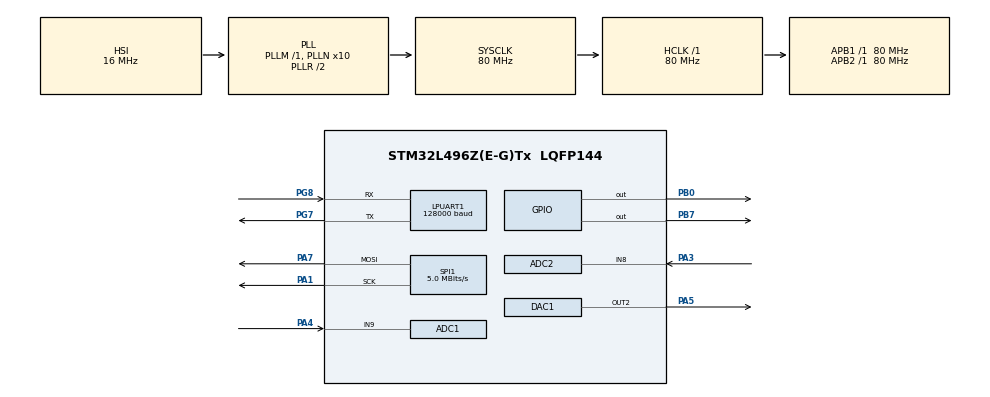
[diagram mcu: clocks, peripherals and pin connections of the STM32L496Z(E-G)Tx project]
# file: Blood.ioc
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Mcu.Family=STM32L4
PG8.Mode=Asynchronous
ADC2.ExternalTrigConv=ADC_EXTERNALTRIG_T2_TRGO
RCC.CortexFreq_Value=80000000
SPI1.VirtualType=VM_MASTER
ADC2.SamplingTime-1\#ChannelRegularConversion=ADC_SAMPLETIME_2CYCLES_5
PH0-OSC_IN\ (PH0).Signal=RCC_OSC_IN
SH.COMP_DAC12_group.0=DAC1_OUT2,DAC_OUT2
PG8.Signal=LPUART1_RX
LPUART1.WordLength=UART_WORDLENGTH_8B
RCC.SYSCLKSource=RCC_SYSCLKSOURCE_PLLCLK
ProjectManager.StackSize=0x400
NVIC.LPUART1_IRQn=true\:0\:0\:false\:false\:true\:true\:true
SPI1.Direction=SPI_DIRECTION_2LINES
RCC.HCLKFreq_Value=80000000
RCC.APB2TimFreq_Value=80000000
Dma.ADC1.0.Direction=DMA_PERIPH_TO_MEMORY
SPI1.CalculateBaudRate=5.0 MBits/s
Dma.ADC1.0.MemDataAlignment=DMA_MDATAALIGN_HALFWORD
RCC.AHBFreq_Value=80000000
PH1-OSC_OUT\ (PH1).Mode=HSE-External-Oscillator
RCC.HSE_VALUE=8000000
Dma.ADC2.1.Instance=DMA1_Channel2
Dma.ADC1.0.PeriphInc=DMA_PINC_DISABLE
NVIC.TIM2_IRQn=true\:0\:0\:false\:false\:true\:true\:true
SPI1.DataSize=SPI_DATASIZE_8BIT
SH.ADCx_IN8.0=ADC2_IN8,IN8-Single-Ended
PB7.Signal=GPIO_Output
Dma.ADC2.1.PeriphInc=DMA_PINC_DISABLE
Mcu.Package=LQFP144
TIM2.Prescaler=8000-1
ADC2.Channel-1\#ChannelRegularConversion=ADC_CHANNEL_8
ADC1.OffsetNumber-1\#ChannelRegularConversion=ADC_OFFSET_NONE
SH.ADCx_IN9.0=ADC1_IN9,IN9-Single-Ended
TIM2.TIM_MasterOutputTrigger=TIM_TRGO_UPDATE
Dma.Request1=ADC2
RCC.APB1TimFreq_Value=80000000
Dma.Request0=ADC1
SPI1.BaudRatePrescaler=SPI_BAUDRATEPRESCALER_16
PH0-OSC_IN\ (PH0).Mode=HSE-External-Oscillator
Dma.ADC2.1.PeriphDataAlignment=DMA_PDATAALIGN_HALFWORD
RCC.HSI48_VALUE=48000000
RCC.PLLSAI1N=10
PA3.Signal=ADCx_IN8
RCC.MSI_VALUE=4000000
RCC.PLLSourceVirtual=RCC_PLLSOURCE_HSI
Dma.ADC1.0.Instance=DMA1_Channel1
DAC1.DAC_Channel-DAC_OUT2=DAC_CHANNEL_2
PA7.Mode=TX_Only_Simplex_Unidirect_Master
PG7.Signal=LPUART1_TX
PH1-OSC_OUT\ (PH1).Signal=RCC_OSC_OUT
Dma.ADC1.0.PeriphDataAlignment=DMA_PDATAALIGN_HALFWORD
NVIC.DMA1_Channel2_IRQn=true\:0\:0\:false\:false\:true\:false\:true
ProjectManager.TargetToolchain=STM32CubeIDE
Dma.ADC1.0.Mode=DMA_NORMAL
Dma.ADC1.0.Priority=DMA_PRIORITY_LOW
ADC1.Channel-1\#ChannelRegularConversion=ADC_CHANNEL_9
RCC.USBFreq_Value=80000000
PG7.Mode=Asynchronous
Dma.ADC2.1.Mode=DMA_NORMAL
RCC.LSE_VALUE=32768
PA1.Signal=SPI1_SCK
ADC2.OffsetNumber-1\#ChannelRegularConversion=ADC_OFFSET_NONE
PA5.Signal=COMP_DAC12_group
board=custom
RCC.VCOOutputFreq_Value=160000000
RCC.APB2Freq_Value=80000000
PA1.Mode=TX_Only_Simplex_Unidirect_Master
VP_TIM2_VS_ClockSourceINT.Mode=Internal
SPI1.Mode=SPI_MODE_MASTER
RCC.ADCFreq_Value=80000000
Dma.ADC2.1.MemInc=DMA_MINC_ENABLE
TIM2.Period=100-1
Mcu.Name=STM32L496Z(E-G)Tx
LPUART1.BaudRate=128000
ADC1.ExternalTrigConv=ADC_EXTERNALTRIG_T2_TRGO
PA4.Signal=ADCx_IN9
ADC1.SamplingTime-1\#ChannelRegularConversion=ADC_SAMPLETIME_2CYCLES_5
RCC.SYSCLKFreq_VALUE=80000000
Dma.ADC2.1.Direction=DMA_PERIPH_TO_MEMORY
ADC1.master=1
ADC2.NbrOfConversionFlag=1
ADC1.Rank-1\#ChannelRegularConversion=1
Dma.ADC1.0.MemInc=DMA_MINC_ENABLE
ProjectManager.HeapSize=0x200
RCC.HSI_VALUE=16000000
NVIC.PriorityGroup=NVIC_PRIORITYGROUP_4
ADC1.NbrOfConversionFlag=1
Dma.ADC2.1.MemDataAlignment=DMA_MDATAALIGN_HALFWORD
RCC.PLLN=10
ADC2.Rank-1\#ChannelRegularConversion=1
Dma.ADC2.1.Priority=DMA_PRIORITY_LOW
NVIC.DMA1_Channel1_IRQn=true\:0\:0\:false\:false\:true\:false\:true
RCC.APB1Freq_Value=80000000
PB0.Signal=GPIO_Output
PA7.Signal=SPI1_MOSI

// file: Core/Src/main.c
/* USER CODE BEGIN Header */
/**
  ******************************************************************************
  * @file           : main.c
  * @brief          : Main program body
  ******************************************************************************
  * @attention
  *
  * <h2><center>&copy; Copyright (c) 2021 STMicroelectronics.
  * All rights reserved.</center></h2>
  *
  * This software component is licensed by ST under BSD 3-Clause license,
  * the "License"; You may not use this file except in compliance with the
  * License. You may obtain a copy of the License at:
  *                        opensource.org/licenses/BSD-3-Clause
  *
  ******************************************************************************
  */
/* USER CODE END Header */
#include "main.h"

/* USER CODE BEGIN Includes */
#include <stdio.h>
#include "max7219.h"
/* USER CODE END Includes */

ADC_HandleTypeDef hadc1;
ADC_HandleTypeDef hadc2;
DMA_HandleTypeDef hdma_adc1;
DMA_HandleTypeDef hdma_adc2;

DAC_HandleTypeDef hdac1;

UART_HandleTypeDef hlpuart1;

SPI_HandleTypeDef hspi1;

TIM_HandleTypeDef htim2;

/* USER CODE BEGIN PV */
__IO ITStatus UartReady = RESET;
__IO uint16_t adcValues[DMABUFFER];
__IO uint16_t staticAdcValues[DMABUFFER];
__IO uint16_t filterValues[DMABUFFER];
__IO uint16_t filterStaticValues[DMABUFFER];
__IO uint16_t maxValueTime = 0;
uint16_t aTxBuffer[1];
uint16_t B[3];
double A[3];
double Gain = 0.02;
double w_x[3];
double w_y[3];

__IO uint16_t maxValue = 0;
/* USER CODE END PV */

void SystemClock_Config(void);
static void MX_GPIO_Init(void);
static void MX_DMA_Init(void);
static void MX_LPUART1_UART_Init(void);
static void MX_ADC1_Init(void);
static void MX_TIM2_Init(void);
static void MX_DAC1_Init(void);
static void MX_SPI1_Init(void);
static void MX_ADC2_Init(void);
/* USER CODE BEGIN PFP */
static void FindMaxValue(void);
static void Max7219Show(uint16_t number, bool pos);
static void FilterAdcValues(void);
static void FilterStaticValues(void);
/* USER CODE END PFP */

/* USER CODE BEGIN 0 */
#ifdef __GNUC__
#define PUTCHAR_PROTOTYPE int __io_putchar(int ch)
#else
#define PUTCHAR_PROTOTYPE int fputc(int ch, FILE *f)
#endif

PUTCHAR_PROTOTYPE
{
  //具体哪个串口可以更改huart1为其它串�????????????????????
  HAL_UART_Transmit(&hlpuart1, (uint8_t *)&ch, 1, 0xffff);
  return ch;
}
/* USER CODE END 0 */

int main(void)
{
  /* USER CODE BEGIN 1 */
  // uint8_t aTxBuffer[] = "test\n";
  aTxBuffer[0] = 0x0100;
  /* USER CODE END 1 */

  /* MCU Configuration--------------------------------------------------------*/

  /* Reset of all peripherals, Initializes the Flash interface and the Systick. */
  HAL_Init();

  /* Configure the system clock */
  SystemClock_Config();

  /* USER CODE BEGIN SysInit */
  B[0] = 1;
  B[1] = 2;
  B[2] = 1;
  A[0] = 1;
  A[1] = -1.561;
  A[2] = 0.641;
  w_x[0] = w_x[1] = w_x[2] = 0;
  w_y[0] = w_y[1] = w_y[2] = 1;
  /* USER CODE END SysInit */

  /* Initialize all configured peripherals */
  MX_GPIO_Init();
  MX_DMA_Init();
  MX_LPUART1_UART_Init();
  MX_ADC1_Init();
  MX_TIM2_Init();
  MX_DAC1_Init();
  MX_SPI1_Init();
  MX_ADC2_Init();
  /* USER CODE BEGIN 2 */
  if (HAL_TIM_Base_Start_IT(&htim2) != HAL_OK)
  {
    Error_Handler();
  };
  if (HAL_ADCEx_Calibration_Start(&hadc1, ADC_SINGLE_ENDED) != HAL_OK)
  {
    Error_Handler();
  }
  if (HAL_ADCEx_Calibration_Start(&hadc2, ADC_SINGLE_ENDED) != HAL_OK)
  {
    Error_Handler();
  }
  // printf("%s\n", "ADC calibration complete.");
  if (HAL_ADC_Start_DMA(&hadc1, (uint32_t *)adcValues, DMABUFFER) != HAL_OK)
  {
    Error_Handler();
  }
  if (HAL_ADC_Start_DMA(&hadc2, (uint32_t *)staticAdcValues, DMABUFFER) != HAL_OK)
  {
    Error_Handler();
  }
  max7219_Init(7);
  max7219_Decode_On();
  max7219_Clean();
  Max7219Show(1111, true);
  Max7219Show(2222, false);
  /* USER CODE END 2 */

  /* Infinite loop */
  /* USER CODE BEGIN WHILE */
  while (1)
  {
    // while (HAL_UART_Transmit_IT(&hlpuart1, (uint8_t *)aTxBuffer, sizeof(aTxBuffer) / sizeof(*(aTxBuffer)) - 1) != HAL_OK)
    // {
    //   /* code */
    // }
    // while (UartReady != SET)
    // {
    // }
    // UartReady = RESET;
    // HAL_Delay(100);
    /* USER CODE END WHILE */

  }
}

void SystemClock_Config(void)
{
  RCC_OscInitTypeDef RCC_OscInitStruct = {0};
  RCC_ClkInitTypeDef RCC_ClkInitStruct = {0};
  RCC_PeriphCLKInitTypeDef PeriphClkInit = {0};

  /** Initializes the RCC Oscillators according to the specified parameters
  * in the RCC_OscInitTypeDef structure.
  */
  RCC_OscInitStruct.OscillatorType = RCC_OSCILLATORTYPE_HSI;
  RCC_OscInitStruct.HSIState = RCC_HSI_ON;
  RCC_OscInitStruct.HSICalibrationValue = RCC_HSICALIBRATION_DEFAULT;
  RCC_OscInitStruct.PLL.PLLState = RCC_PLL_ON;
  RCC_OscInitStruct.PLL.PLLSource = RCC_PLLSOURCE_HSI;
  RCC_OscInitStruct.PLL.PLLM = 1;
  RCC_OscInitStruct.PLL.PLLN = 10;
  RCC_OscInitStruct.PLL.PLLP = RCC_PLLP_DIV2;
  RCC_OscInitStruct.PLL.PLLQ = RCC_PLLQ_DIV2;
  RCC_OscInitStruct.PLL.PLLR = RCC_PLLR_DIV2;
  if (HAL_RCC_OscConfig(&RCC_OscInitStruct) != HAL_OK)
  {
    Error_Handler();
  }
  /** Initializes the CPU, AHB and APB buses clocks
  */
  RCC_ClkInitStruct.ClockType = RCC_CLOCKTYPE_HCLK | RCC_CLOCKTYPE_SYSCLK | RCC_CLOCKTYPE_PCLK1 | RCC_CLOCKTYPE_PCLK2;
  RCC_ClkInitStruct.SYSCLKSource = RCC_SYSCLKSOURCE_PLLCLK;
  RCC_ClkInitStruct.AHBCLKDivider = RCC_SYSCLK_DIV1;
  RCC_ClkInitStruct.APB1CLKDivider = RCC_HCLK_DIV1;
  RCC_ClkInitStruct.APB2CLKDivider = RCC_HCLK_DIV1;

  if (HAL_RCC_ClockConfig(&RCC_ClkInitStruct, FLASH_LATENCY_4) != HAL_OK)
  {
    Error_Handler();
  }
  PeriphClkInit.PeriphClockSelection = RCC_PERIPHCLK_LPUART1 | RCC_PERIPHCLK_ADC;
  PeriphClkInit.Lpuart1ClockSelection = RCC_LPUART1CLKSOURCE_PCLK1;
  PeriphClkInit.AdcClockSelection = RCC_ADCCLKSOURCE_PLLSAI1;
  PeriphClkInit.PLLSAI1.PLLSAI1Source = RCC_PLLSOURCE_HSI;
  PeriphClkInit.PLLSAI1.PLLSAI1M = 1;
  PeriphClkInit.PLLSAI1.PLLSAI1N = 10;
  PeriphClkInit.PLLSAI1.PLLSAI1P = RCC_PLLP_DIV2;
  PeriphClkInit.PLLSAI1.PLLSAI1Q = RCC_PLLQ_DIV2;
  PeriphClkInit.PLLSAI1.PLLSAI1R = RCC_PLLR_DIV2;
  PeriphClkInit.PLLSAI1.PLLSAI1ClockOut = RCC_PLLSAI1_ADC1CLK;
  if (HAL_RCCEx_PeriphCLKConfig(&PeriphClkInit) != HAL_OK)
  {
    Error_Handler();
  }
  /** Configure the main internal regulator output voltage
  */
  if (HAL_PWREx_ControlVoltageScaling(PWR_REGULATOR_VOLTAGE_SCALE1) != HAL_OK)
  {
    Error_Handler();
  }
}

static void MX_ADC1_Init(void)
{

  ADC_MultiModeTypeDef multimode = {0};
  ADC_ChannelConfTypeDef sConfig = {0};

  /** Common config
  */
  hadc1.Instance = ADC1;
  hadc1.Init.ClockPrescaler = ADC_CLOCK_ASYNC_DIV1;
  hadc1.Init.Resolution = ADC_RESOLUTION_12B;
  hadc1.Init.DataAlign = ADC_DATAALIGN_RIGHT;
  hadc1.Init.ScanConvMode = ADC_SCAN_DISABLE;
  hadc1.Init.EOCSelection = ADC_EOC_SINGLE_CONV;
  hadc1.Init.LowPowerAutoWait = DISABLE;
  hadc1.Init.ContinuousConvMode = DISABLE;
  hadc1.Init.NbrOfConversion = 1;
  hadc1.Init.DiscontinuousConvMode = DISABLE;
  hadc1.Init.ExternalTrigConv = ADC_EXTERNALTRIG_T2_TRGO;
  hadc1.Init.ExternalTrigConvEdge = ADC_EXTERNALTRIGCONVEDGE_RISING;
  hadc1.Init.DMAContinuousRequests = DISABLE;
  hadc1.Init.Overrun = ADC_OVR_DATA_PRESERVED;
  hadc1.Init.OversamplingMode = DISABLE;
  if (HAL_ADC_Init(&hadc1) != HAL_OK)
  {
    Error_Handler();
  }
  /** Configure the ADC multi-mode
  */
  multimode.Mode = ADC_MODE_INDEPENDENT;
  if (HAL_ADCEx_MultiModeConfigChannel(&hadc1, &multimode) != HAL_OK)
  {
    Error_Handler();
  }
  /** Configure Regular Channel
  */
  sConfig.Channel = ADC_CHANNEL_9;
  sConfig.Rank = ADC_REGULAR_RANK_1;
  sConfig.SamplingTime = ADC_SAMPLETIME_2CYCLES_5;
  sConfig.SingleDiff = ADC_SINGLE_ENDED;
  sConfig.OffsetNumber = ADC_OFFSET_NONE;
  sConfig.Offset = 0;
  if (HAL_ADC_ConfigChannel(&hadc1, &sConfig) != HAL_OK)
  {
    Error_Handler();
  }
}

static void MX_ADC2_Init(void)
{

  ADC_ChannelConfTypeDef sConfig = {0};

  /** Common config
  */
  hadc2.Instance = ADC2;
  hadc2.Init.ClockPrescaler = ADC_CLOCK_ASYNC_DIV1;
  hadc2.Init.Resolution = ADC_RESOLUTION_12B;
  hadc2.Init.DataAlign = ADC_DATAALIGN_RIGHT;
  hadc2.Init.ScanConvMode = ADC_SCAN_DISABLE;
  hadc2.Init.EOCSelection = ADC_EOC_SINGLE_CONV;
  hadc2.Init.LowPowerAutoWait = DISABLE;
  hadc2.Init.ContinuousConvMode = DISABLE;
  hadc2.Init.NbrOfConversion = 1;
  hadc2.Init.DiscontinuousConvMode = DISABLE;
  hadc2.Init.ExternalTrigConv = ADC_EXTERNALTRIG_T2_TRGO;
  hadc2.Init.ExternalTrigConvEdge = ADC_EXTERNALTRIGCONVEDGE_RISING;
  hadc2.Init.DMAContinuousRequests = DISABLE;
  hadc2.Init.Overrun = ADC_OVR_DATA_PRESERVED;
  hadc2.Init.OversamplingMode = DISABLE;
  if (HAL_ADC_Init(&hadc2) != HAL_OK)
  {
    Error_Handler();
  }
  /** Configure Regular Channel
  */
  sConfig.Channel = ADC_CHANNEL_8;
  sConfig.Rank = ADC_REGULAR_RANK_1;
  sConfig.SamplingTime = ADC_SAMPLETIME_2CYCLES_5;
  sConfig.SingleDiff = ADC_SINGLE_ENDED;
  sConfig.OffsetNumber = ADC_OFFSET_NONE;
  sConfig.Offset = 0;
  if (HAL_ADC_ConfigChannel(&hadc2, &sConfig) != HAL_OK)
  {
    Error_Handler();
  }
}

static void MX_DAC1_Init(void)
{

  DAC_ChannelConfTypeDef sConfig = {0};

  /** DAC Initialization
  */
  hdac1.Instance = DAC1;
  if (HAL_DAC_Init(&hdac1) != HAL_OK)
  {
    Error_Handler();
  }
  /** DAC channel OUT2 config
  */
  sConfig.DAC_SampleAndHold = DAC_SAMPLEANDHOLD_DISABLE;
  sConfig.DAC_Trigger = DAC_TRIGGER_NONE;
  sConfig.DAC_OutputBuffer = DAC_OUTPUTBUFFER_ENABLE;
  sConfig.DAC_ConnectOnChipPeripheral = DAC_CHIPCONNECT_DISABLE;
  sConfig.DAC_UserTrimming = DAC_TRIMMING_FACTORY;
  if (HAL_DAC_ConfigChannel(&hdac1, &sConfig, DAC_CHANNEL_2) != HAL_OK)
  {
    Error_Handler();
  }
  /* USER CODE BEGIN DAC1_Init 2 */
  if (HAL_DAC_SetValue(&hdac1, DAC_CHANNEL_2, DAC_ALIGN_12B_R, 4095 / 4) != HAL_OK)
  {
    /* Setting value Error */
    Error_Handler();
  }
  if (HAL_DAC_Start(&hdac1, DAC_CHANNEL_2) != HAL_OK)
  {
    Error_Handler();
  };
  /* USER CODE END DAC1_Init 2 */
}

static void MX_LPUART1_UART_Init(void)
{

  hlpuart1.Instance = LPUART1;
  hlpuart1.Init.BaudRate = 128000;
  hlpuart1.Init.WordLength = UART_WORDLENGTH_8B;
  hlpuart1.Init.StopBits = UART_STOPBITS_1;
  hlpuart1.Init.Parity = UART_PARITY_NONE;
  hlpuart1.Init.Mode = UART_MODE_TX_RX;
  hlpuart1.Init.HwFlowCtl = UART_HWCONTROL_NONE;
  hlpuart1.Init.OneBitSampling = UART_ONE_BIT_SAMPLE_DISABLE;
  hlpuart1.AdvancedInit.AdvFeatureInit = UART_ADVFEATURE_NO_INIT;
  if (HAL_UART_Init(&hlpuart1) != HAL_OK)
  {
    Error_Handler();
  }
}

static void MX_SPI1_Init(void)
{

  /* SPI1 parameter configuration*/
  hspi1.Instance = SPI1;
  hspi1.Init.Mode = SPI_MODE_MASTER;
  hspi1.Init.Direction = SPI_DIRECTION_2LINES;
  hspi1.Init.DataSize = SPI_DATASIZE_8BIT;
  hspi1.Init.CLKPolarity = SPI_POLARITY_LOW;
  hspi1.Init.CLKPhase = SPI_PHASE_1EDGE;
  hspi1.Init.NSS = SPI_NSS_SOFT;
  hspi1.Init.BaudRatePrescaler = SPI_BAUDRATEPRESCALER_16;
  hspi1.Init.FirstBit = SPI_FIRSTBIT_MSB;
  hspi1.Init.TIMode = SPI_TIMODE_DISABLE;
  hspi1.Init.CRCCalculation = SPI_CRCCALCULATION_DISABLE;
  hspi1.Init.CRCPolynomial = 7;
  hspi1.Init.CRCLength = SPI_CRC_LENGTH_DATASIZE;
  hspi1.Init.NSSPMode = SPI_NSS_PULSE_ENABLE;
  if (HAL_SPI_Init(&hspi1) != HAL_OK)
  {
    Error_Handler();
  }
}

static void MX_TIM2_Init(void)
{

  TIM_ClockConfigTypeDef sClockSourceConfig = {0};
  TIM_MasterConfigTypeDef sMasterConfig = {0};

  htim2.Instance = TIM2;
  htim2.Init.Prescaler = 8000 - 1;
  htim2.Init.CounterMode = TIM_COUNTERMODE_UP;
  htim2.Init.Period = 100 - 1;
  htim2.Init.ClockDivision = TIM_CLOCKDIVISION_DIV1;
  htim2.Init.AutoReloadPreload = TIM_AUTORELOAD_PRELOAD_DISABLE;
  if (HAL_TIM_Base_Init(&htim2) != HAL_OK)
  {
    Error_Handler();
  }
  sClockSourceConfig.ClockSource = TIM_CLOCKSOURCE_INTERNAL;
  if (HAL_TIM_ConfigClockSource(&htim2, &sClockSourceConfig) != HAL_OK)
  {
    Error_Handler();
  }
  sMasterConfig.MasterOutputTrigger = TIM_TRGO_UPDATE;
  sMasterConfig.MasterSlaveMode = TIM_MASTERSLAVEMODE_DISABLE;
  if (HAL_TIMEx_MasterConfigSynchronization(&htim2, &sMasterConfig) != HAL_OK)
  {
    Error_Handler();
  }
}

static void MX_DMA_Init(void)
{

  /* DMA controller clock enable */
  __HAL_RCC_DMA1_CLK_ENABLE();

  /* DMA interrupt init */
  /* DMA1_Channel1_IRQn interrupt configuration */
  HAL_NVIC_SetPriority(DMA1_Channel1_IRQn, 0, 0);
  HAL_NVIC_EnableIRQ(DMA1_Channel1_IRQn);
  /* DMA1_Channel2_IRQn interrupt configuration */
  HAL_NVIC_SetPriority(DMA1_Channel2_IRQn, 0, 0);
  HAL_NVIC_EnableIRQ(DMA1_Channel2_IRQn);
}

static void MX_GPIO_Init(void)
{
  GPIO_InitTypeDef GPIO_InitStruct = {0};

  /* GPIO Ports Clock Enable */
  __HAL_RCC_GPIOH_CLK_ENABLE();
  __HAL_RCC_GPIOA_CLK_ENABLE();
  __HAL_RCC_GPIOB_CLK_ENABLE();
  __HAL_RCC_GPIOG_CLK_ENABLE();
  HAL_PWREx_EnableVddIO2();

  /*Configure GPIO pin Output Level */
  HAL_GPIO_WritePin(GPIOB, GPIO_PIN_0 | GPIO_PIN_7, GPIO_PIN_RESET);

  /*Configure GPIO pins : PB0 PB7 */
  GPIO_InitStruct.Pin = GPIO_PIN_0 | GPIO_PIN_7;
  GPIO_InitStruct.Mode = GPIO_MODE_OUTPUT_PP;
  GPIO_InitStruct.Pull = GPIO_NOPULL;
  GPIO_InitStruct.Speed = GPIO_SPEED_FREQ_LOW;
  HAL_GPIO_Init(GPIOB, &GPIO_InitStruct);
}

/* USER CODE BEGIN 4 */
void HAL_UART_TxCpltCallback(UART_HandleTypeDef *UartHandle)
{
  /* Set transmission flag: transfer complete*/
  UartReady = SET;
}
// void HAL_TIM_PeriodElapsedCallback(TIM_HandleTypeDef *htim)
// {
//   if (htim->Instance == htim2.Instance)
//   {
//     HAL_GPIO_TogglePin(GPIOB, GPIO_PIN_7);
//   }
// }
void HAL_ADC_ConvCpltCallback(ADC_HandleTypeDef *AdcHandle)
{
  uint16_t i = 0;
  if (AdcHandle->Instance == hadc1.Instance)
  {
    // printf("%s\n", "****Begin****");

    i = 0;
    FilterAdcValues();
    FilterStaticValues();
    FindMaxValue();
    for (i = 0; i < DMABUFFER; ++i)
    {
      printf("%d\n", filterStaticValues[i]);
    }
    printf("%s\n", "ADC1 over");
    // printf("%s\n", "****End****");
  }
  if (AdcHandle->Instance == hadc2.Instance)
  {
    printf("%s\n", "ADC2 over");
    float meanPressure = filterStaticValues[maxValueTime] / 18.2;
    float leftPressure = meanPressure / 0.8;
    float rightPressure = meanPressure * 0.7;
    Max7219Show((uint16_t)leftPressure, true);
    Max7219Show((uint16_t)rightPressure, false);
    printf("leftP: %d rightP: %d\n", (uint16_t)leftPressure, (uint16_t)rightPressure);
    printf("maxValueTime:%d maxAdcValue:%d maxPressure:%d\n", maxValueTime, maxValue, filterStaticValues[maxValueTime]);
  }
  // printf("%s\n", "Processing");
#ifndef ONESHOT
  if (HAL_ADC_Start_DMA(&hadc1, (uint32_t *)adcValues, DMABUFFER) != HAL_OK)
  {
    Error_Handler();
  };
#endif
}

void HAL_SPI_TxCpltCallback(SPI_HandleTypeDef *hspi)
{
  if (hspi->Instance == hspi1.Instance)
  {
    printf("%s", "SPI Send Finish\n");
  }
}

static void FindMaxValue(void)
{
  maxValue = filterValues[800];
  maxValueTime = 800;
  uint16_t i;
  for (i = 800; i < DMABUFFER; ++i)
  {
    if (filterValues[i] > maxValue)
    {
      maxValue = filterValues[i];
      maxValueTime = i;
    }
  }
}
static void Max7219Show(uint16_t number, bool pos)
{
  bool flag = false;
  uint16_t numbers[4];
  uint16_t i;
  numbers[0] = number / 1000;
  numbers[1] = (number % 1000) / 100;
  numbers[2] = (number % 100) / 10;
  numbers[3] = number % 10;
  //max7219_Clean();
  if (pos == true)
  {
    for (i = 0; i < 4; ++i)
    {
      if (numbers[i] != 0 || flag)
      {
        max7219_PrintDigit(4 - i, numbers[i], false);
        flag = true;
      }
      else
      {
        max7219_PrintDigit(4 - i, BLANK, false);
      }
    }
  }
  else
  {
    for (i = 0; i < 4; ++i)
    {
      if (numbers[i] != 0 || flag)
      {
        max7219_PrintDigit(8 - i, numbers[i], false);
        flag = true;
      }
      else
      {
        max7219_PrintDigit(8 - i, BLANK, false);
      }
    }
  }
}
static void FilterAdcValues(void)
{
  uint16_t i;
  for (i = 0; i < DMABUFFER; i++)
  {
    w_x[0] = adcValues[i];
    w_y[0] = (B[0] * w_x[0] + B[1] * w_x[1] + B[2] * w_x[2]) * Gain - w_y[1] * A[1] - w_y[2] * A[2];
    filterValues[i] = w_y[0] / A[0];
    w_x[2] = w_x[1];
    w_x[1] = w_x[0];
    w_y[2] = w_y[1];
    w_y[1] = w_y[0];
  }
}
static void FilterStaticValues(void)
{
  uint16_t i;
  for (i = 0; i < DMABUFFER; i++)
  {
    w_x[0] = staticAdcValues[i];
    w_y[0] = (B[0] * w_x[0] + B[1] * w_x[1] + B[2] * w_x[2]) * Gain - w_y[1] * A[1] - w_y[2] * A[2];
    filterStaticValues[i] = w_y[0] / A[0];
    w_x[2] = w_x[1];
    w_x[1] = w_x[0];
    w_y[2] = w_y[1];
    w_y[1] = w_y[0];
  }
}
/* USER CODE END 4 */

void Error_Handler(void)
{
  /* USER CODE BEGIN Error_Handler_Debug */
  printf("%s\n", "ERROR!");
  /* User can add his own implementation to report the HAL error return state */
  __disable_irq();
  while (1)
  {
  }
  /* USER CODE END Error_Handler_Debug */
}

/************************ (C) COPYRIGHT STMicroelectronics *****END OF FILE****/
